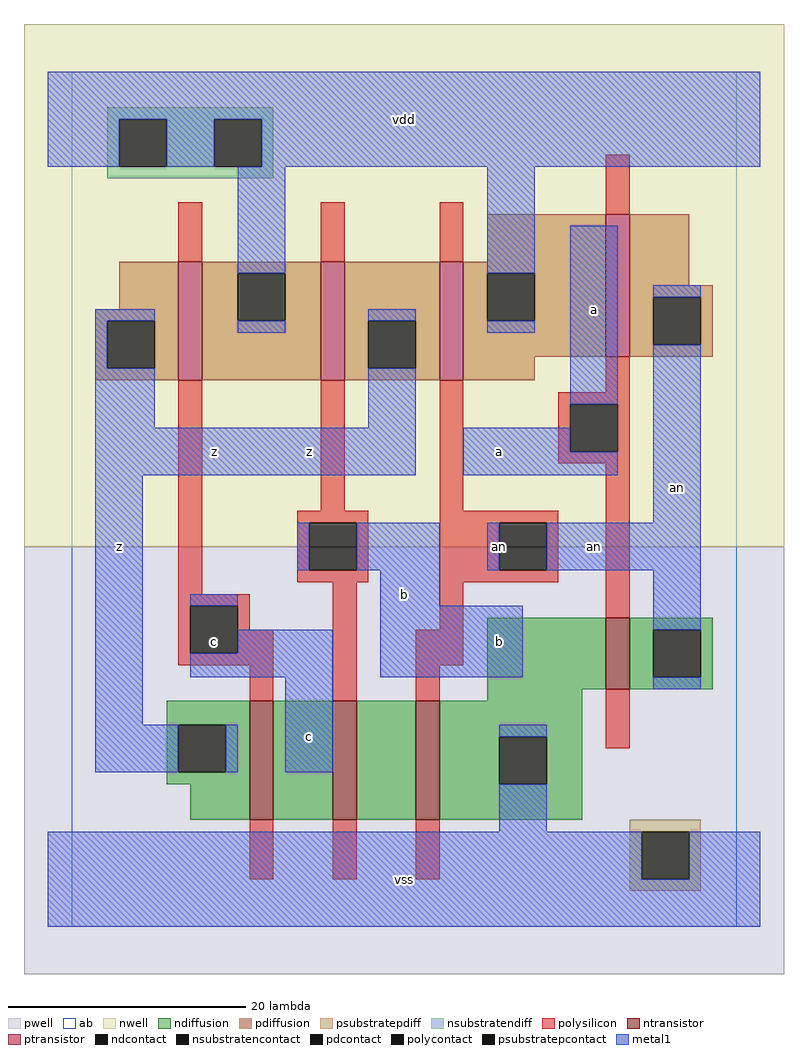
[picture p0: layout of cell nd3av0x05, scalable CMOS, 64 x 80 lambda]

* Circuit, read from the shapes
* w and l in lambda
.subckt nd3av0x05 a an b c vdd vss z
M1 n1 c z vss nfet w=10 l=2
M2 n2 b n1 vss nfet w=10 l=2
M3 vss an n2 vss nfet w=10 l=2
M4 an a vss vss nfet w=6 l=2
M5 vdd c z vdd pfet w=10 l=2
M6 z b vdd vdd pfet w=10 l=2
M7 vdd an z vdd pfet w=10 l=2
M8 an a vdd vdd pfet w=12 l=2
.ends

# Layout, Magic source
magic
tech scmos
<< ab >>
rect 0 0 56 72
<< pwell >>
rect -4 -4 60 32
<< nwell >>
rect -4 32 60 76
<< polysilicon >>
rect 9 56 11 61
rect 21 56 23 61
rect 31 56 33 61
rect 45 60 47 65
rect 9 28 11 46
rect 21 35 23 46
rect 31 35 33 46
rect 45 45 47 48
rect 41 44 47 45
rect 41 40 42 44
rect 46 40 47 44
rect 41 39 47 40
rect 19 34 25 35
rect 19 30 20 34
rect 24 30 25 34
rect 19 29 25 30
rect 31 34 41 35
rect 31 30 36 34
rect 40 30 41 34
rect 31 29 41 30
rect 9 27 15 28
rect 9 23 10 27
rect 14 25 15 27
rect 14 23 17 25
rect 9 22 17 23
rect 15 19 17 22
rect 22 19 24 29
rect 31 25 33 29
rect 45 26 47 39
rect 29 22 33 25
rect 29 19 31 22
rect 45 15 47 20
rect 15 4 17 9
rect 22 4 24 9
rect 29 4 31 9
<< ndiffusion >>
rect 35 20 45 26
rect 47 25 54 26
rect 47 21 49 25
rect 53 21 54 25
rect 47 20 54 21
rect 35 19 43 20
rect 8 17 15 19
rect 8 13 9 17
rect 13 13 15 17
rect 8 12 15 13
rect 10 9 15 12
rect 17 9 22 19
rect 24 9 29 19
rect 31 16 43 19
rect 31 12 36 16
rect 40 12 43 16
rect 31 9 43 12
<< pdiffusion >>
rect 35 56 45 60
rect 4 52 9 56
rect 2 51 9 52
rect 2 47 3 51
rect 7 47 9 51
rect 2 46 9 47
rect 11 55 21 56
rect 11 51 14 55
rect 18 51 21 55
rect 11 46 21 51
rect 23 51 31 56
rect 23 47 25 51
rect 29 47 31 51
rect 23 46 31 47
rect 33 55 45 56
rect 33 51 35 55
rect 39 51 45 55
rect 33 48 45 51
rect 47 54 52 60
rect 47 53 54 54
rect 47 49 49 53
rect 53 49 54 53
rect 47 48 54 49
rect 33 46 39 48
<< metal1 >>
rect -2 68 58 72
rect -2 64 4 68
rect 8 64 12 68
rect 16 64 58 68
rect 14 55 18 64
rect 2 51 7 52
rect 2 47 3 51
rect 35 55 39 64
rect 14 50 18 51
rect 25 51 29 52
rect 2 42 7 47
rect 35 50 39 51
rect 25 42 29 47
rect 42 44 46 59
rect 2 38 29 42
rect 33 40 42 42
rect 33 38 46 40
rect 49 53 53 54
rect 2 17 6 38
rect 49 34 53 49
rect 19 30 20 34
rect 24 30 31 34
rect 35 30 36 34
rect 40 30 53 34
rect 10 27 14 28
rect 26 27 31 30
rect 14 23 22 25
rect 10 21 22 23
rect 26 21 38 27
rect 49 25 53 30
rect 2 13 9 17
rect 13 13 14 17
rect 18 13 22 21
rect 49 20 53 21
rect 36 16 40 17
rect 36 8 40 12
rect -2 4 48 8
rect 52 4 58 8
rect -2 0 58 4
<< ntransistor >>
rect 45 20 47 26
rect 15 9 17 19
rect 22 9 24 19
rect 29 9 31 19
<< ptransistor >>
rect 9 46 11 56
rect 21 46 23 56
rect 31 46 33 56
rect 45 48 47 60
<< polycontact >>
rect 42 40 46 44
rect 20 30 24 34
rect 36 30 40 34
rect 10 23 14 27
<< ndcontact >>
rect 49 21 53 25
rect 9 13 13 17
rect 36 12 40 16
<< pdcontact >>
rect 3 47 7 51
rect 14 51 18 55
rect 25 47 29 51
rect 35 51 39 55
rect 49 49 53 53
<< psubstratepcontact >>
rect 48 4 52 8
<< nsubstratencontact >>
rect 4 64 8 68
rect 12 64 16 68
<< psubstratepdiff >>
rect 47 8 53 9
rect 47 4 48 8
rect 52 4 53 8
rect 47 3 53 4
<< nsubstratendiff >>
rect 3 68 17 69
rect 3 64 4 68
rect 8 64 12 68
rect 16 64 17 68
rect 3 63 17 64
<< labels >>
rlabel polysilicon 36 32 36 32 6 an
rlabel metal1 4 32 4 32 6 z
rlabel metal1 20 16 20 16 6 c
rlabel polycontact 12 24 12 24 6 c
rlabel metal1 20 40 20 40 6 z
rlabel metal1 12 40 12 40 6 z
rlabel metal1 28 4 28 4 6 vss
rlabel metal1 28 28 28 28 6 b
rlabel metal1 36 24 36 24 6 b
rlabel metal1 36 40 36 40 6 a
rlabel metal1 28 68 28 68 6 vdd
rlabel metal1 44 32 44 32 6 an
rlabel metal1 51 37 51 37 6 an
rlabel metal1 44 52 44 52 6 a
<< end >>
